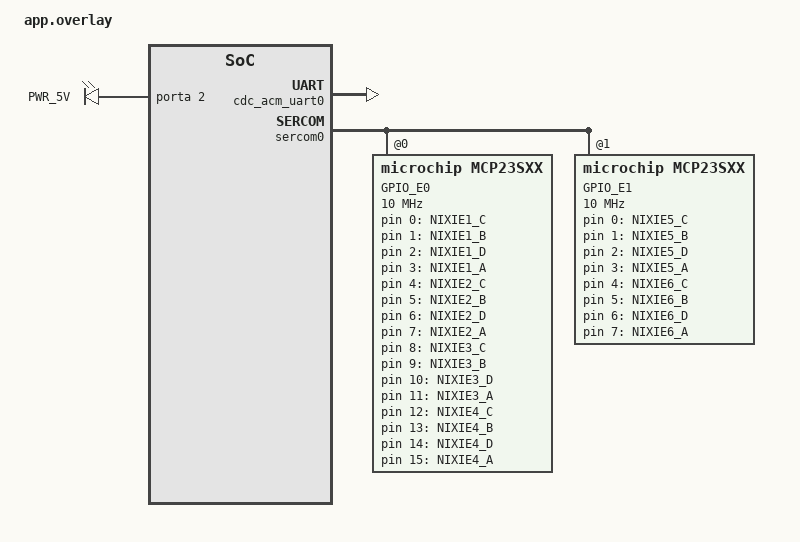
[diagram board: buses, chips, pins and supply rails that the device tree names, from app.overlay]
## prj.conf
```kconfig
CONFIG_SOC_SERIES_SAMD21=y
CONFIG_SOC_ATMEL_SAMD_XOSC32K=y
CONFIG_SOC_PART_NUMBER_SAMD21G18A=y

CONFIG_SERIAL=y
CONFIG_STDOUT_CONSOLE=y
CONFIG_UART_INTERRUPT_DRIVEN=y
CONFIG_UART_LINE_CTRL=y

CONFIG_SPI=y
CONFIG_GPIO=y
CONFIG_PINMUX=y
CONFIG_GPIO_MCP23SXX=y

CONFIG_USB_DEVICE_STACK=y
CONFIG_USB_DEVICE_VID=0x2886
CONFIG_USB_DEVICE_PID=0x0020
CONFIG_USB_DEVICE_MANUFACTURER="GeckoHouse"
CONFIG_USB_DEVICE_PRODUCT="NIXIE Clock"
CONFIG_USB_DEVICE_SN="00000001"
CONFIG_USB_COMPOSITE_DEVICE=y

CONFIG_USB_DEVICE_HID=y
CONFIG_USB_HID_DEVICE_COUNT=1
CONFIG_ENABLE_HID_INT_OUT_EP=y

CONFIG_USB_CDC_ACM=y
CONFIG_USB_CDC_ACM_RINGBUF_SIZE=512
CONFIG_USB_MAX_POWER=100

CONFIG_BUILD_OUTPUT_UF2=y
CONFIG_BOOTLOADER_BOSSA=y
CONFIG_BOOTLOADER_BOSSA_ADAFRUIT_UF2=y
```

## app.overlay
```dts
/ {
	chosen {
		zephyr,console = &cdc_acm_uart0;
	};

	outputs {
		compatible = "gpio-leds";

		pwr_5v: pwr_5v {
			gpios = <&porta 2 0>;
			label = "PWR_5V";
		};

		nixie1_c: gpio_e0_p0 {
			gpios = <&gpio_e0 0 0>;
			label = "NIXIE1_C";
		};
		nixie1_b: gpio_e0_p1 {
			gpios = <&gpio_e0 1 0>;
			label = "NIXIE1_B";
		};
		nixie1_d: gpio_e0_p2 {
			gpios = <&gpio_e0 2 0>;
			label = "NIXIE1_D";
		};
		nixie1_a: gpio_e0_p3 {
			gpios = <&gpio_e0 3 0>;
			label = "NIXIE1_A";
		};

		nixie2_c: gpio_e0_p4 {
			gpios = <&gpio_e0 4 0>;
			label = "NIXIE2_C";
		};
		nixie2_b: gpio_e0_p5 {
			gpios = <&gpio_e0 5 0>;
			label = "NIXIE2_B";
		};
		nixie2_d: gpio_e0_p6 {
			gpios = <&gpio_e0 6 0>;
			label = "NIXIE2_D";
		};
		nixie2_a: gpio_e0_p7 {
			gpios = <&gpio_e0 7 0>;
			label = "NIXIE2_A";
		};

		nixie3_c: gpio_e0_p8 {
			gpios = <&gpio_e0 8 0>;
			label = "NIXIE3_C";
		};
		nixie3_b: gpio_e0_p9 {
			gpios = <&gpio_e0 9 0>;
			label = "NIXIE3_B";
		};
		nixie3_d: gpio_e0_p10 {
			gpios = <&gpio_e0 10 0>;
			label = "NIXIE3_D";
		};
		nixie3_a: gpio_e0_p11 {
			gpios = <&gpio_e0 11 0>;
			label = "NIXIE3_A";
		};


		nixie4_c: gpio_e0_p12 {
			gpios = <&gpio_e0 12 0>;
			label = "NIXIE4_C";
		};
		nixie4_b: gpio_e0_p13 {
			gpios = <&gpio_e0 13 0>;
			label = "NIXIE4_B";
		};
		nixie4_d: gpio_e0_p14 {
			gpios = <&gpio_e0 14 0>;
			label = "NIXIE4_D";
		};
		nixie4_a: gpio_e0_p15 {
			gpios = <&gpio_e0 15 0>;
			label = "NIXIE4_A";
		};

		nixie5_c: gpio_e1_p0 {
			gpios = <&gpio_e1 0 0>;
			label = "NIXIE5_C";
		};
		nixie5_b: gpio_e1_p1 {
			gpios = <&gpio_e1 1 0>;
			label = "NIXIE5_B";
		};
		nixie5_d: gpio_e1_p2 {
			gpios = <&gpio_e1 2 0>;
			label = "NIXIE5_D";
		};
		nixie5_a: gpio_e1_p3 {
			gpios = <&gpio_e1 3 0>;
			label = "NIXIE5_A";
		};

		nixie6_c: gpio_e1_p4 {
			gpios = <&gpio_e1 4 0>;
			label = "NIXIE6_C";
		};
		nixie6_b: gpio_e1_p5 {
			gpios = <&gpio_e1 5 0>;
			label = "NIXIE6_B";
		};
		nixie6_d: gpio_e1_p6 {
			gpios = <&gpio_e1 6 0>;
			label = "NIXIE6_D";
		};
		nixie6_a: gpio_e1_p7 {
			gpios = <&gpio_e1 7 0>;
			label = "NIXIE6_A";
		};

	};
};

&zephyr_udc0 {
	cdc_acm_uart0: cdc_acm_uart0 {
		compatible = "zephyr,cdc-acm-uart";
		label = "CDC_ACM_0";
	};
};

&sercom0 {
	clock-frequency = <10000000>;
	cs-gpios = <&xiao_d 7 GPIO_ACTIVE_LOW>,
		   <&xiao_d 6 GPIO_ACTIVE_LOW>;

	gpio_e0: mcp23sxx@0 {
		compatible = "microchip,mcp23sxx";
		reg = <0>;
		label = "GPIO_E0";
		spi-max-frequency = <10000000>;
		gpio-controller;
		#gpio-cells = <2>;
		ngpios = <16>;
		status = "okay";
	};

	gpio_e1: mcp23sxx@1 {
		compatible = "microchip,mcp23sxx";
		reg = <1>;
		label = "GPIO_E1";
		spi-max-frequency = <10000000>;
		gpio-controller;
		#gpio-cells = <2>;
		ngpios = <16>;
		status = "okay";
	};

};
```

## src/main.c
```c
/*
 * Copyright (c) 2021 Gratian Crisan.
 * SPDX-License-Identifier: Apache-2.0
 */

#include <zephyr.h>
#include <stdio.h>
#include <string.h>
#include <device.h>
#include <drivers/uart.h>
#include <drivers/gpio.h>

#include <usb/usb_device.h>
#include <usb/class/usb_hid.h>

#include <logging/log.h>

#include "nixie.h"

#define DEBUG 1
#define PWR_LIMITER 0

#define LED0_NODE DT_ALIAS(led0)
#define LED	DT_GPIO_LABEL(LED0_NODE, gpios)
#define PIN	DT_GPIO_PIN(LED0_NODE, gpios)
#define FLAGS	DT_GPIO_FLAGS(LED0_NODE, gpios)

#if PWR_LIMITER
#define PWR_5V_NODE	DT_NODELABEL(pwr_5v)
#define PWR_LABEL	DT_GPIO_LABEL(PWR_5V_NODE, gpios)
#define PWR_PIN		DT_GPIO_PIN(PWR_5V_NODE, gpios)
#define PWR_FLAGS	DT_GPIO_FLAGS(PWR_5V_NODE, gpios)
#endif

#if DEBUG
LOG_MODULE_REGISTER(cdc_acm_composite, LOG_LEVEL_INF);
#else
LOG_MODULE_REGISTER(cdc_acm_composite, LOG_LEVEL_WRN);
#endif

#define HID_DATA_SZ 31
uint8_t hid_data[HID_DATA_SZ + 1];
#define REPORT_ID_1 0x01

static struct k_work hid_data_received;

/*
 * Simple HID Report Descriptor (report id can be omitted).
 * Test with: $ sudo usbhid-dump -d 2886:0020
 * 003:042:002:DESCRIPTOR         1639617998.110796
 *  05 01 09 00 A1 01 15 00 26 FF 00 85 01 75 08 95
 *  01 09 00 81 02 91 02 C0
 */
static const uint8_t hid_report_desc[] = {
	HID_USAGE_PAGE(HID_USAGE_GEN_DESKTOP),
	HID_USAGE(HID_USAGE_GEN_DESKTOP_UNDEFINED),
	HID_COLLECTION(HID_COLLECTION_APPLICATION),
	HID_LOGICAL_MIN8(0x00),
	HID_LOGICAL_MAX16(0xFF, 0x00),
	HID_REPORT_ID(REPORT_ID_1),
	HID_REPORT_SIZE(8),
	HID_REPORT_COUNT(1),
	HID_USAGE(HID_USAGE_GEN_DESKTOP_UNDEFINED),
	HID_INPUT(0x02),
	HID_OUTPUT(0x02),
	HID_END_COLLECTION,
};

#if DEBUG
static void int_in_ready_cb(const struct device *dev)
{
	LOG_INF("int_in_ready_cb\n");
}

static void int_out_ready_cb(const struct device *dev)
{
	LOG_INF("int_out_ready_cb\n");
	k_work_submit(&hid_data_received);
}

static void on_idle_cb(const struct device *dev, uint16_t report_id)
{
	LOG_INF("on_idle_cb\n");
}


static void protocol_cb(const struct device *dev, uint8_t protocol)
{
	LOG_INF("New protocol: %s", protocol == HID_PROTOCOL_BOOT ?
		"boot" : "report");
}

static const struct hid_ops ops = {
	.int_in_ready = int_in_ready_cb,
	.int_out_ready = int_out_ready_cb,
	.on_idle = on_idle_cb,
	.protocol_change = protocol_cb,
};
#else
static void int_out_ready_cb(const struct device *dev)
{
	k_work_submit(&hid_data_received);
}

static const struct hid_ops ops = {
	.int_out_ready = int_out_ready_cb,
};
#endif

static const struct device* hid0_dev;

static void hid_data_read(struct k_work *work)
{
	int ret;
	uint32_t len = 0;
	uint32_t i;

	ret = hid_int_ep_read(hid0_dev, hid_data, HID_DATA_SZ, &len);
	printk("USB HID rx data: ");
	for (i = 0; i < len; i++)
		printk("0x%x ", hid_data[i]);
	printk("\n");
}

void main(void)
{
	const struct device* acm_dev;
	const struct device* led_dev;
#if PWR_LIMITER
	const struct device* pwr_dev;
#endif
	uint8_t nixie_number = 0;
	uint32_t dtr = 0U;
	int ret;
	int i;

	printk("Board: %s\n", CONFIG_BOARD);

	k_work_init(&hid_data_received, hid_data_read);

	hid0_dev = device_get_binding("HID_0");
	if (hid0_dev == NULL) {
		LOG_ERR("Cannot get USB HID 0 Device");
		return;
	}

	usb_hid_register_device(hid0_dev, hid_report_desc,
				sizeof(hid_report_desc), &ops);

	if (usb_hid_init(hid0_dev)) {
		LOG_ERR("Failed usb_hid_init");
	}

	acm_dev = device_get_binding("CDC_ACM_0");
	if (!acm_dev) {
		LOG_WRN("CDC_ACM_0 device not found");
		return;
	}

	ret = usb_enable(NULL);
	if (ret != 0) {
		LOG_ERR("Failed to enable USB");
		return;
	}

	LOG_INF("Wait for DTR");
	while (1) {
		uart_line_ctrl_get(acm_dev, UART_LINE_CTRL_DTR, &dtr);
		if (dtr) {
			break;
		}

		k_sleep(K_MSEC(100));
	}

	printk("*** NIXIE clock client ***\n");

	/* on-board LED */
	led_dev = device_get_binding(LED);
	if (led_dev == NULL)
		printk("error: failed to find LED device\n");
	else
		printk("ok: found LED device\n");

	ret = gpio_pin_configure(led_dev, PIN,
				GPIO_OUTPUT_ACTIVE | GPIO_ACTIVE_LOW | FLAGS);
	if (ret < 0)
		printk("error: failed to set led gpio flags\n");

#if PWR_LIMITER
	/* 5V current limiter */
	pwr_dev = device_get_binding(PWR_LABEL);
	if (pwr_dev == NULL)
		printk("error: failed to find 5V power control gpio device\n");
	else
		printk("ok: found 5V power control gpio device\n");

	ret = gpio_pin_configure(pwr_dev, PWR_PIN, GPIO_OUTPUT_ACTIVE | PWR_FLAGS);
	if (ret < 0)
		printk("error: failed to set 5v power gpio flags\n");
	gpio_pin_set(pwr_dev, PWR_PIN, 1);
#endif

	ret = init_nixies();
	if (ret < 0)
		printk("error: failed to init NIXIEs\n");

	gpio_pin_set(led_dev, PIN, 1);

	nixie_number = 0;
	while (1) {
		printk("%d\n", nixie_number);
		for (i = 0; i < 6; i++)
			set_nixie(i, nixie_number);

		nixie_number = (nixie_number + 1) % 10;

		k_sleep(K_MSEC(200));
	}
}
```

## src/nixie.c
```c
/*
 * Copyright (c) 2021 Gratian Crisan.
 * SPDX-License-Identifier: Apache-2.0
 */

#include <zephyr.h>
#include <stdio.h>
#include <string.h>
#include <device.h>
#include <drivers/gpio.h>

#include "nixie.h"

#define NIXIE_CNT	6
#define NIXIE_BCD	4

struct nixie_dev nixies[NIXIE_CNT][NIXIE_BCD] = {
	{
		{
			.dev = NULL,
			.name = DT_GPIO_LABEL(DT_NODELABEL(nixie1_a), gpios),
			.pin = DT_GPIO_PIN(DT_NODELABEL(nixie1_a), gpios),
			.flags = DT_GPIO_FLAGS(DT_NODELABEL(nixie1_a), gpios)
		},
		{
			.dev = NULL,
			.name = DT_GPIO_LABEL(DT_NODELABEL(nixie1_b), gpios),
			.pin = DT_GPIO_PIN(DT_NODELABEL(nixie1_b), gpios),
			.flags = DT_GPIO_FLAGS(DT_NODELABEL(nixie1_b), gpios)
		},
		{
			.dev = NULL,
			.name = DT_GPIO_LABEL(DT_NODELABEL(nixie1_c), gpios),
			.pin = DT_GPIO_PIN(DT_NODELABEL(nixie1_c), gpios),
			.flags = DT_GPIO_FLAGS(DT_NODELABEL(nixie1_c), gpios)
		},
		{
			.dev = NULL,
			.name = DT_GPIO_LABEL(DT_NODELABEL(nixie1_d), gpios),
			.pin = DT_GPIO_PIN(DT_NODELABEL(nixie1_d), gpios),
			.flags = DT_GPIO_FLAGS(DT_NODELABEL(nixie1_d), gpios)
		}
	},
	{
		{
			.dev = NULL,
			.name = DT_GPIO_LABEL(DT_NODELABEL(nixie2_a), gpios),
			.pin = DT_GPIO_PIN(DT_NODELABEL(nixie2_a), gpios),
			.flags = DT_GPIO_FLAGS(DT_NODELABEL(nixie2_a), gpios)
		},
		{
			.dev = NULL,
			.name = DT_GPIO_LABEL(DT_NODELABEL(nixie2_b), gpios),
			.pin = DT_GPIO_PIN(DT_NODELABEL(nixie2_b), gpios),
			.flags = DT_GPIO_FLAGS(DT_NODELABEL(nixie2_b), gpios)
		},
		{
			.dev = NULL,
			.name = DT_GPIO_LABEL(DT_NODELABEL(nixie2_c), gpios),
			.pin = DT_GPIO_PIN(DT_NODELABEL(nixie2_c), gpios),
			.flags = DT_GPIO_FLAGS(DT_NODELABEL(nixie2_c), gpios)
		},
		{
			.dev = NULL,
			.name = DT_GPIO_LABEL(DT_NODELABEL(nixie2_d), gpios),
			.pin = DT_GPIO_PIN(DT_NODELABEL(nixie2_d), gpios),
			.flags = DT_GPIO_FLAGS(DT_NODELABEL(nixie2_d), gpios)
		}
	},
	{
		{
			.dev = NULL,
			.name = DT_GPIO_LABEL(DT_NODELABEL(nixie3_a), gpios),
			.pin = DT_GPIO_PIN(DT_NODELABEL(nixie3_a), gpios),
			.flags = DT_GPIO_FLAGS(DT_NODELABEL(nixie3_a), gpios)
		},
		{
			.dev = NULL,
			.name = DT_GPIO_LABEL(DT_NODELABEL(nixie3_b), gpios),
			.pin = DT_GPIO_PIN(DT_NODELABEL(nixie3_b), gpios),
			.flags = DT_GPIO_FLAGS(DT_NODELABEL(nixie3_b), gpios)
		},
		{
			.dev = NULL,
			.name = DT_GPIO_LABEL(DT_NODELABEL(nixie3_c), gpios),
			.pin = DT_GPIO_PIN(DT_NODELABEL(nixie3_c), gpios),
			.flags = DT_GPIO_FLAGS(DT_NODELABEL(nixie3_c), gpios)
		},
		{
			.dev = NULL,
			.name = DT_GPIO_LABEL(DT_NODELABEL(nixie3_d), gpios),
			.pin = DT_GPIO_PIN(DT_NODELABEL(nixie3_d), gpios),
			.flags = DT_GPIO_FLAGS(DT_NODELABEL(nixie3_d), gpios)
		}
	},
	{
		{
			.dev = NULL,
			.name = DT_GPIO_LABEL(DT_NODELABEL(nixie4_a), gpios),
			.pin = DT_GPIO_PIN(DT_NODELABEL(nixie4_a), gpios),
			.flags = DT_GPIO_FLAGS(DT_NODELABEL(nixie4_a), gpios)
		},
		{
			.dev = NULL,
			.name = DT_GPIO_LABEL(DT_NODELABEL(nixie4_b), gpios),
			.pin = DT_GPIO_PIN(DT_NODELABEL(nixie4_b), gpios),
			.flags = DT_GPIO_FLAGS(DT_NODELABEL(nixie4_b), gpios)
		},
		{
			.dev = NULL,
			.name = DT_GPIO_LABEL(DT_NODELABEL(nixie4_c), gpios),
			.pin = DT_GPIO_PIN(DT_NODELABEL(nixie4_c), gpios),
			.flags = DT_GPIO_FLAGS(DT_NODELABEL(nixie4_c), gpios)
		},
		{
			.dev = NULL,
			.name = DT_GPIO_LABEL(DT_NODELABEL(nixie4_d), gpios),
			.pin = DT_GPIO_PIN(DT_NODELABEL(nixie4_d), gpios),
			.flags = DT_GPIO_FLAGS(DT_NODELABEL(nixie4_d), gpios)
		}
	},
	{
		{
			.dev = NULL,
			.name = DT_GPIO_LABEL(DT_NODELABEL(nixie5_a), gpios),
			.pin = DT_GPIO_PIN(DT_NODELABEL(nixie5_a), gpios),
			.flags = DT_GPIO_FLAGS(DT_NODELABEL(nixie5_a), gpios)
		},
		{
			.dev = NULL,
			.name = DT_GPIO_LABEL(DT_NODELABEL(nixie5_b), gpios),
			.pin = DT_GPIO_PIN(DT_NODELABEL(nixie5_b), gpios),
			.flags = DT_GPIO_FLAGS(DT_NODELABEL(nixie5_b), gpios)
		},
		{
			.dev = NULL,
			.name = DT_GPIO_LABEL(DT_NODELABEL(nixie5_c), gpios),
			.pin = DT_GPIO_PIN(DT_NODELABEL(nixie5_c), gpios),
			.flags = DT_GPIO_FLAGS(DT_NODELABEL(nixie5_c), gpios)
		},
		{
			.dev = NULL,
			.name = DT_GPIO_LABEL(DT_NODELABEL(nixie5_d), gpios),
			.pin = DT_GPIO_PIN(DT_NODELABEL(nixie5_d), gpios),
			.flags = DT_GPIO_FLAGS(DT_NODELABEL(nixie5_d), gpios)
		}
	},
	{
		{
			.dev = NULL,
			.name = DT_GPIO_LABEL(DT_NODELABEL(nixie6_a), gpios),
			.pin = DT_GPIO_PIN(DT_NODELABEL(nixie6_a), gpios),
			.flags = DT_GPIO_FLAGS(DT_NODELABEL(nixie6_a), gpios)
		},
		{
			.dev = NULL,
			.name = DT_GPIO_LABEL(DT_NODELABEL(nixie6_b), gpios),
			.pin = DT_GPIO_PIN(DT_NODELABEL(nixie6_b), gpios),
			.flags = DT_GPIO_FLAGS(DT_NODELABEL(nixie6_b), gpios)
		},
		{
			.dev = NULL,
			.name = DT_GPIO_LABEL(DT_NODELABEL(nixie6_c), gpios),
			.pin = DT_GPIO_PIN(DT_NODELABEL(nixie6_c), gpios),
			.flags = DT_GPIO_FLAGS(DT_NODELABEL(nixie6_c), gpios)
		},
		{
			.dev = NULL,
			.name = DT_GPIO_LABEL(DT_NODELABEL(nixie6_d), gpios),
			.pin = DT_GPIO_PIN(DT_NODELABEL(nixie6_d), gpios),
			.flags = DT_GPIO_FLAGS(DT_NODELABEL(nixie6_d), gpios)
		}
	}
};

int init_nixies()
{
	uint8_t i, j;
	int ret = -1;

	for (i = 0; i < NIXIE_CNT; i++) {
		for (j = 0; j < NIXIE_BCD; j++) {
			nixies[i][j].dev = device_get_binding(nixies[i][j].name);

			if (nixies[i][j].dev == NULL) {
				printk("error: nixie %d: failed to get binding for %s\n",
					i, nixies[i][j].name);
				ret = -1;
				goto out;
			} else {
				printk("ok: nixie %d: found %s binding\n",
					i, nixies[i][j].name);
				ret = gpio_pin_configure(nixies[i][j].dev,
							nixies[i][j].pin,
							GPIO_OUTPUT_ACTIVE |
							GPIO_PULL_UP |
							nixies[i][j].flags);
				if (ret < 0) {
					printk("error: nixie %d: failed to configure %s pin\n",
						i, nixies[i][j].name);
					goto out;
				}
			}
		}
	}
out:
	return ret;
}

int set_nixie(uint8_t position, uint8_t number)
{
	uint8_t i;

	if (position >= NIXIE_CNT)
		return -1;

	for (i = 0; i < NIXIE_BCD; i++) {
		gpio_pin_set(nixies[position][i].dev,
			nixies[position][i].pin,
			(number >> i) & 0x01);
	}

	return 0;
}
```

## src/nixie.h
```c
/*
 * Copyright (c) 2021 Gratian Crisan.
 * SPDX-License-Identifier: Apache-2.0
 */
#ifndef _NIXIE_H_
#define _NIXIE_H_

struct nixie_dev {
	const struct device* dev;
	const char* name;
	gpio_pin_t pin;
	gpio_flags_t flags;
};

int init_nixies(void);
int set_nixie(uint8_t position, uint8_t number);

#endif /* _NIXIE_H_ */
```
